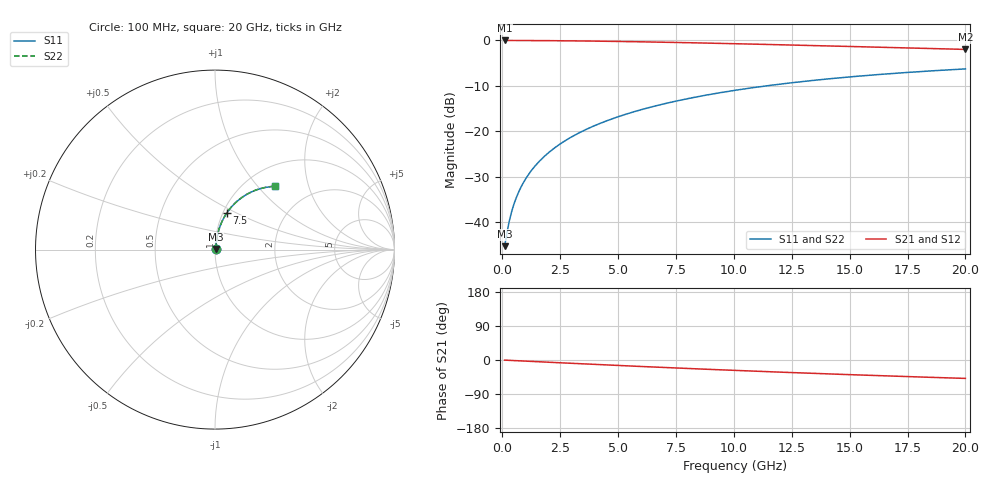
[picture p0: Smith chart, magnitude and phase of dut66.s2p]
! Touchstone file exported from HFSS 2024.1.0
!  File:  C:/UserFiles/LocalFiles/RDL_TSV_Batchsim/temp_RDL_bottom_66_1778693680.aedt
!  Generated:  01:37:39 AM May 14, 2026
!  Design:  RDL_bottom
!  Project:  temp_RDL_bottom_66_1778693680
!  Setup:  Setup1
!  Solution:  Sweep
! Variables:
!  dtsv = 10.80580581um
!  hbump = 3um
!  htsv = 85.46um
!  ldown = 649.74um
!  lrdl = 100um
!  p = 40
!  p1 = 52.64um
!  rhole = 1um
!  t = 450um
!  tdown = 3.2um
!  trdl = 3.915915916um
!  wdown = 16.27um
!  wrdl = 20um
# GHz S MA R 50.000000
! Terminal data exported
! Port[1] = RDL1_T1
! Port[2] = RDL1_T2
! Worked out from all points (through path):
!   200 points, 100 MHz to 20 GHz, reference 50 ohm
!   highest |S21| = -0.04 dB at 100 MHz (marker M1); lowest = -2.0 dB at 20 GHz (marker M2)
!   group delay of S21, straight-line fit = 6.74 ps
!   lowest |S11| = -45.2 dB at 100 MHz (marker M3), VSWR 1.01, Z = 50.5 + j0.309 ohm
!   |S11| at or under -10 dB: start of sweep to 11.43 GHz
!   |S22| runs from -45.2 to -6.3 dB; largest |S21 - S12| = 3.2e-15
!   S11 on the Smith chart (normalised r, x): 100 MHz: 1.01, +0.01; 7.5 GHz: 1.04, +0.45; 20 GHz: 1.35, +1.24
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0.1  0.005481 34.0  0.9955 -0.3  0.9955 -0.3  0.005481 34.0
! Gamma 0 0 0 0
! Port Impedance 50 0 50 0
0.2  0.007677 52.5  0.9953 -0.6  0.9953 -0.6  0.007677 52.5
0.3  0.01028 61.9  0.9952 -0.9  0.9952 -0.9  0.01028 61.9
0.4  0.01301 67.2  0.995 -1.2  0.995 -1.2  0.01301 67.2
0.5  0.01579 70.5  0.9947 -1.5  0.9947 -1.5  0.01579 70.5
0.6  0.01857 72.9  0.9945 -1.8  0.9945 -1.8  0.01857 72.9
0.8  0.02418 75.9  0.9941 -2.4  0.9941 -2.4  0.02418 75.9
1.1  0.03265 78.3  0.9934 -3.3  0.9934 -3.3  0.03265 78.3
1.3  0.03833 79.2  0.9929 -3.8  0.9929 -3.8  0.03833 79.2
1.6  0.04689 80.0  0.9919 -4.7  0.9919 -4.7  0.04689 80.0
2.1  0.06121 80.5  0.9901 -6.2  0.9901 -6.2  0.06121 80.5
2.7  0.07846 80.3  0.9872 -7.9  0.9872 -7.9  0.07846 80.3
3.5  0.1015 79.5  0.9825 -10.2  0.9825 -10.2  0.1015 79.5
4.2  0.1216 78.5  0.9776 -12.2  0.9776 -12.2  0.1216 78.5
5  0.1445 77.1  0.9711 -14.4  0.9711 -14.4  0.1445 77.1
6.8  0.1953 73.6  0.954 -19.2  0.954 -19.2  0.1954 73.6
7.5  0.2146 72.1  0.9466 -21.1  0.9466 -21.1  0.2147 72.1
8.7  0.247 69.5  0.9331 -24.1  0.9331 -24.1  0.2472 69.6
10.1  0.2834 66.5  0.9165 -27.6  0.9165 -27.6  0.2836 66.5
13.4  0.3619 59.4  0.8754 -35.2  0.8754 -35.2  0.3621 59.5
16.7  0.429 52.7  0.8338 -42.2  0.8338 -42.2  0.4293 52.8
20  0.4848 46.6  0.7938 -48.6  0.7938 -48.6  0.4851 46.6
